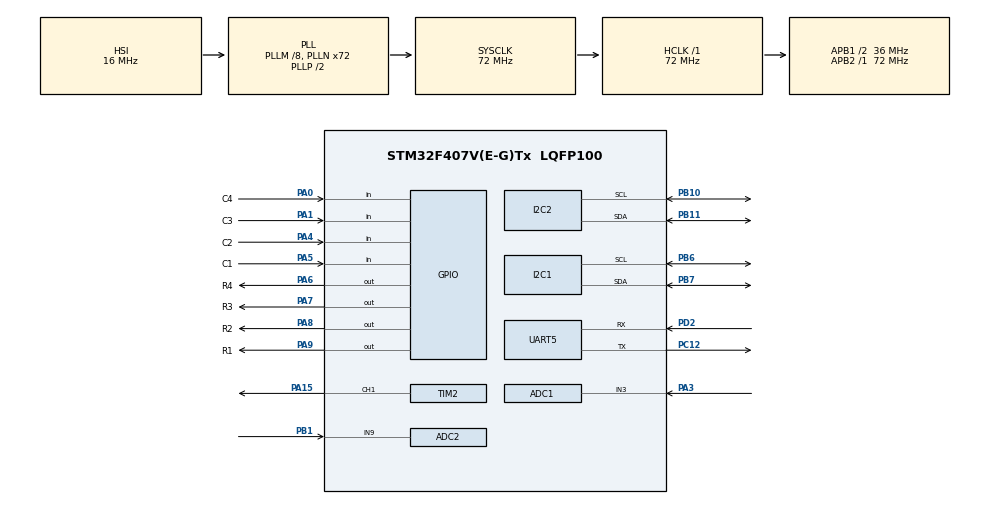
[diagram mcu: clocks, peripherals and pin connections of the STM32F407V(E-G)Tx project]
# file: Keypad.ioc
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ADC1.Channel-0\#ChannelRegularConversion=ADC_CHANNEL_3
ADC1.NbrOfConversionFlag=1
ADC1.Rank-0\#ChannelRegularConversion=1
ADC1.SamplingTime-0\#ChannelRegularConversion=ADC_SAMPLETIME_144CYCLES
ADC1.master=1
ADC2.Channel-0\#ChannelRegularConversion=ADC_CHANNEL_9
ADC2.NbrOfConversionFlag=1
ADC2.Rank-0\#ChannelRegularConversion=1
ADC2.SamplingTime-0\#ChannelRegularConversion=ADC_SAMPLETIME_144CYCLES
Mcu.Family=STM32F4
Mcu.Name=STM32F407V(E-G)Tx
Mcu.Package=LQFP100
NVIC.PriorityGroup=NVIC_PRIORITYGROUP_4
PA0-WKUP.GPIO_Label=C4
PA0-WKUP.GPIO_PuPd=GPIO_PULLUP
PA0-WKUP.Signal=GPIO_Input
PA1.GPIO_Label=C3
PA1.GPIO_PuPd=GPIO_PULLUP
PA1.Signal=GPIO_Input
PA15.Signal=S_TIM2_CH1_ETR
PA3.Signal=ADCx_IN3
PA4.GPIO_Label=C2
PA4.GPIO_PuPd=GPIO_PULLUP
PA4.Signal=GPIO_Input
PA5.GPIO_Label=C1
PA5.GPIO_PuPd=GPIO_PULLUP
PA5.Signal=GPIO_Input
PA6.GPIO_Label=R4
PA6.Signal=GPIO_Output
PA7.GPIO_Label=R3
PA7.Signal=GPIO_Output
PA8.GPIO_Label=R2
PA8.Signal=GPIO_Output
PA9.GPIO_Label=R1
PA9.Signal=GPIO_Output
PB1.Signal=ADCx_IN9
PB10.Mode=I2C
PB10.Signal=I2C2_SCL
PB11.Mode=I2C
PB11.Signal=I2C2_SDA
PB6.Mode=I2C
PB6.Signal=I2C1_SCL
PB7.Mode=I2C
PB7.Signal=I2C1_SDA
PC12.Mode=Asynchronous
PC12.Signal=UART5_TX
PD2.Mode=Asynchronous
PD2.Signal=UART5_RX
PH0-OSC_IN.Mode=HSE-External-Oscillator
PH0-OSC_IN.Signal=RCC_OSC_IN
PH1-OSC_OUT.Mode=HSE-External-Oscillator
PH1-OSC_OUT.Signal=RCC_OSC_OUT
ProjectManager.HeapSize=0x200
ProjectManager.StackSize=0x400
ProjectManager.TargetToolchain=STM32CubeIDE
RCC.48MHZClocksFreq_Value=36000000
RCC.AHBFreq_Value=72000000
RCC.APB1CLKDivider=RCC_HCLK_DIV2
RCC.APB1Freq_Value=36000000
RCC.APB1TimFreq_Value=72000000
RCC.APB2Freq_Value=72000000
RCC.APB2TimFreq_Value=72000000
RCC.CortexFreq_Value=72000000
RCC.HCLKFreq_Value=72000000
RCC.HSE_VALUE=25000000
RCC.HSI_VALUE=16000000
RCC.LSE_VALUE=32768
RCC.PLLM=8
RCC.PLLN=72
RCC.SYSCLKFreq_VALUE=72000000
RCC.SYSCLKSource=RCC_SYSCLKSOURCE_PLLCLK
RCC.VCOOutputFreq_Value=144000000
SH.ADCx_IN3.0=ADC1_IN3,IN3
SH.ADCx_IN9.0=ADC2_IN9,IN9
SH.S_TIM2_CH1_ETR.0=TIM2_CH1,PWM Generation1 CH1
TIM2.Channel-PWM\ Generation1\ CH1=TIM_CHANNEL_1
TIM2.Period=1000-1
TIM2.Prescaler=2000-1
UART5.VirtualMode=Asynchronous
VP_TIM2_VS_ClockSourceINT.Mode=Internal
board=custom

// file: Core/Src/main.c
/* USER CODE BEGIN Header */
/**
  ******************************************************************************
  * @file           : main.c
  * @brief          : Main program body
  ******************************************************************************
  * @attention
  *
  * Copyright (c) 2024 STMicroelectronics.
  * All rights reserved.
  *
  * This software is licensed under terms that can be found in the LICENSE file
  * in the root directory of this software component.
  * If no LICENSE file comes with this software, it is provided AS-IS.
  *
  ******************************************************************************
  */
/* USER CODE END Header */
#include "main.h"
#include "string.h"
#include "stdio.h"
#include "i2c-lcd.h"
#include "keypad_4x4.h"

/* USER CODE BEGIN Includes */
#define addr_pcf8574 (0x27 << 1)
#define LCD_BACKLIGHT 0x08
#define LCD_NOBACKLIGHT 0x00
#define Vc 5.0        // Voltage supply
#define RL 1.0        // Load resistance in kilo-ohms
#define Ro 2.3
/* USER CODE END Includes */
uint32_t lastSensorReadTime = 0;
uint32_t sensorReadInterval = 1000;

ADC_HandleTypeDef hadc1;
ADC_HandleTypeDef hadc2;

I2C_HandleTypeDef hi2c1;
I2C_HandleTypeDef hi2c2;

TIM_HandleTypeDef htim2;

UART_HandleTypeDef huart5;

/* USER CODE BEGIN PV */
char key;
/* USER CODE END PV */

void SystemClock_Config(void);
static void MX_GPIO_Init(void);
static void MX_I2C1_Init(void);
static void MX_TIM2_Init(void);
static void MX_ADC1_Init(void);
static void MX_I2C2_Init(void);
static void MX_UART5_Init(void);
static void MX_ADC2_Init(void);
/* USER CODE BEGIN PFP */
void LCD_I2C_Write_CMD(uint8_t data) {
	uint8_t buf[4] = {
	    (data & 0xF0) | 0x04 | LCD_BACKLIGHT,
	    (data & 0xF0) | 0x00 | LCD_BACKLIGHT,
	    (data << 4) & 0xF0 | 0x04 | LCD_BACKLIGHT,
	    (data << 4) & 0xF0 | 0x00 | LCD_BACKLIGHT
	  };
    HAL_I2C_Master_Transmit(&hi2c2, addr_pcf8574, buf, 4, 100);
}

void LCD_I2C_Write_DATA(uint8_t data) {
	uint8_t buf[4] = {
	    (data & 0xF0) | 0x05 | LCD_BACKLIGHT,
	    (data & 0xF0) | 0x01 | LCD_BACKLIGHT,
	    (data << 4) & 0xF0 | 0x05 | LCD_BACKLIGHT,
	    (data << 4) & 0xF0 | 0x01 | LCD_BACKLIGHT
	  };
    HAL_I2C_Master_Transmit(&hi2c2, addr_pcf8574, buf, 4, 100);
}

void LCD_I2C_Init(){
	LCD_I2C_Write_CMD(0x33);
	LCD_I2C_Write_CMD(0x32);
	LCD_I2C_Write_CMD(0x28);
	LCD_I2C_Write_CMD(0x0C);
	LCD_I2C_Write_CMD(0x06);
	LCD_I2C_Write_CMD(0x01);
	HAL_Delay(2);
}

void LCD_I2C_Clean(){
	LCD_I2C_Write_CMD(0x01);
	HAL_Delay(2);
}

void LCD_I2C_Location(uint8_t x, uint8_t y){
	if (x==0){
		LCD_I2C_Write_CMD(0x80+y);
	} else if (x==1){
		LCD_I2C_Write_CMD(0xC0+y);
	}
}

void LCD_I2C_Write_String (char* string){
	for (uint8_t i=0; i<strlen(string); i++){
		LCD_I2C_Write_DATA(string[i]);
	}
}

void LCD_I2C_Write_Number (int number){
	char buffer[8];
	sprintf(buffer, "%d", number);
	LCD_I2C_Write_String(buffer);
}
float calculate_ppm(float Rs) {
    float m = -0.45;
    float b = 1.27;

    float ratio = Rs / Ro;
    float ppm_log = (log10(ratio) - b) / m;
    float ppm = pow(10, ppm_log);

    return ppm;
}

float calculate_rs(uint32_t adc_value) {
    float Vout = (adc_value / 4096.0) * Vc;
    float Rs = ((Vc - Vout) / Vout) * RL;
    return Rs;
}

/* USER CODE END PFP */

/* USER CODE BEGIN 0 */
char password[6] = "56B89C";
	char inputPassword[6];

	int checkPassword(){
		int i;
		for (int i = 0; i < 6; i++){
			if(inputPassword[i]!=password[i]){
				return 0;
			}
		}
		return 1;
	}

/* USER CODE END 0 */

int main(void)
{

	float value;
	float t;

  /* MCU Configuration--------------------------------------------------------*/

  /* Reset of all peripherals, Initializes the Flash interface and the Systick. */
  HAL_Init();

  /* Configure the system clock */
  SystemClock_Config();

  /* Initialize all configured peripherals */
  MX_GPIO_Init();
  MX_I2C1_Init();
  MX_TIM2_Init();
  MX_ADC1_Init();
  MX_I2C2_Init();
  MX_UART5_Init();
  MX_ADC2_Init();
  /* USER CODE BEGIN 2 */
  lcd_init();
  HAL_TIM_PWM_Start(&htim2, TIM_CHANNEL_1);
  /* USER CODE END 2 */
  LCD_I2C_Init();
  lastSensorReadTime = HAL_GetTick();

  /* Infinite loop */
  /* USER CODE BEGIN WHILE */
  while (1)
          {
              lcd_put_cur(0, 0);
              lcd_send_string("Enter Password");

              char key = Keypad_Get_Char();
              if (key != 0) {
                  lcd_put_cur(1, 0);
                  lcd_send_string("Key: ");
                  lcd_put_cur(1, 5);
                  lcd_send_string(&key);

                  if (key == '#') {
                      if (checkPassword()) {
                      	HAL_UART_Transmit(&huart5, (uint8_t*)"CORRECT\n", 8, HAL_MAX_DELAY);
                          lcd_clear();
                          lcd_put_cur(0, 0);
                          lcd_send_string("Correct");
                          htim2.Instance->CCR1 = 15;
                          HAL_Delay(1500);
                          htim2.Instance->CCR1 = 70;
                          HAL_Delay(1500);
                          htim2.Instance->CCR1 = 130;
                          HAL_Delay(1500);
                      } else {
                      	HAL_UART_Transmit(&huart5, (uint8_t*)"INCORRECT\n", 10, HAL_MAX_DELAY);
                          lcd_clear();
                          lcd_put_cur(0, 0);
                          lcd_send_string("Incorrect");
                      }
                      HAL_Delay(1000);
                      lcd_clear();
                      memset(inputPassword, 0, 6);
                  } else {
                      int len = strlen(inputPassword);
                      if (len < 6) {
                          inputPassword[len] = key;
                      }
                  }
              }

              uint32_t currentTime = HAL_GetTick();
              if (currentTime - lastSensorReadTime >= sensorReadInterval) {
                  lastSensorReadTime = currentTime;

                  HAL_ADC_Start(&hadc1);
                  HAL_ADC_PollForConversion(&hadc1, 1000);
                  uint32_t gasValue = HAL_ADC_GetValue(&hadc1);
                  float Rs = calculate_rs(gasValue);
                  float ppm = calculate_ppm(Rs);

                  HAL_ADC_Start(&hadc2);
                  HAL_ADC_PollForConversion(&hadc2, 1000);
                  value = HAL_ADC_GetValue(&hadc2);
                  t = (value / 4096.0) * 3.0 * 100.0;
                  t = t - 7.0;
                  char gasString[50];
                  snprintf(gasString, sizeof(gasString), "%.2f", ppm);
                  LCD_I2C_Clean();
                  LCD_I2C_Location(0, 0);
                  LCD_I2C_Write_String("gas:");
                  LCD_I2C_Write_String(gasString);
                  LCD_I2C_Write_String("ppm");

                  char tString[50];
                  snprintf(tString, sizeof(tString), "%.2f", t);
                  LCD_I2C_Location(1, 0);
                  LCD_I2C_Write_String("nhiet do:");
                  LCD_I2C_Write_String(tString);
                  LCD_I2C_Write_String("oC");

                  if (ppm > 100) {
                      LCD_I2C_Location(0, 12);
                      LCD_I2C_Write_String(" !!!");
                  }

                  char uartBuffer[50];
                  snprintf(uartBuffer, sizeof(uartBuffer), "%.2f;%.2f\n", ppm, t);
                  HAL_UART_Transmit(&huart5, (uint8_t*)uartBuffer, strlen(uartBuffer), HAL_MAX_DELAY);
              }

              HAL_Delay(10);
          }

  /* USER CODE END 3 */
}

void SystemClock_Config(void)
{
  RCC_OscInitTypeDef RCC_OscInitStruct = {0};
  RCC_ClkInitTypeDef RCC_ClkInitStruct = {0};

  /** Configure the main internal regulator output voltage
  */
  __HAL_RCC_PWR_CLK_ENABLE();
  __HAL_PWR_VOLTAGESCALING_CONFIG(PWR_REGULATOR_VOLTAGE_SCALE1);

  /** Initializes the RCC Oscillators according to the specified parameters
  * in the RCC_OscInitTypeDef structure.
  */
  RCC_OscInitStruct.OscillatorType = RCC_OSCILLATORTYPE_HSI;
  RCC_OscInitStruct.HSIState = RCC_HSI_ON;
  RCC_OscInitStruct.HSICalibrationValue = RCC_HSICALIBRATION_DEFAULT;
  RCC_OscInitStruct.PLL.PLLState = RCC_PLL_ON;
  RCC_OscInitStruct.PLL.PLLSource = RCC_PLLSOURCE_HSI;
  RCC_OscInitStruct.PLL.PLLM = 8;
  RCC_OscInitStruct.PLL.PLLN = 72;
  RCC_OscInitStruct.PLL.PLLP = RCC_PLLP_DIV2;
  RCC_OscInitStruct.PLL.PLLQ = 4;
  if (HAL_RCC_OscConfig(&RCC_OscInitStruct) != HAL_OK)
  {
    Error_Handler();
  }

  /** Initializes the CPU, AHB and APB buses clocks
  */
  RCC_ClkInitStruct.ClockType = RCC_CLOCKTYPE_HCLK|RCC_CLOCKTYPE_SYSCLK
                              |RCC_CLOCKTYPE_PCLK1|RCC_CLOCKTYPE_PCLK2;
  RCC_ClkInitStruct.SYSCLKSource = RCC_SYSCLKSOURCE_PLLCLK;
  RCC_ClkInitStruct.AHBCLKDivider = RCC_SYSCLK_DIV1;
  RCC_ClkInitStruct.APB1CLKDivider = RCC_HCLK_DIV2;
  RCC_ClkInitStruct.APB2CLKDivider = RCC_HCLK_DIV1;

  if (HAL_RCC_ClockConfig(&RCC_ClkInitStruct, FLASH_LATENCY_2) != HAL_OK)
  {
    Error_Handler();
  }
}

static void MX_ADC1_Init(void)
{

  ADC_ChannelConfTypeDef sConfig = {0};

  /** Configure the global features of the ADC (Clock, Resolution, Data Alignment and number of conversion)
  */
  hadc1.Instance = ADC1;
  hadc1.Init.ClockPrescaler = ADC_CLOCK_SYNC_PCLK_DIV2;
  hadc1.Init.Resolution = ADC_RESOLUTION_12B;
  hadc1.Init.ScanConvMode = DISABLE;
  hadc1.Init.ContinuousConvMode = DISABLE;
  hadc1.Init.DiscontinuousConvMode = DISABLE;
  hadc1.Init.ExternalTrigConvEdge = ADC_EXTERNALTRIGCONVEDGE_NONE;
  hadc1.Init.ExternalTrigConv = ADC_SOFTWARE_START;
  hadc1.Init.DataAlign = ADC_DATAALIGN_RIGHT;
  hadc1.Init.NbrOfConversion = 1;
  hadc1.Init.DMAContinuousRequests = DISABLE;
  hadc1.Init.EOCSelection = ADC_EOC_SINGLE_CONV;
  if (HAL_ADC_Init(&hadc1) != HAL_OK)
  {
    Error_Handler();
  }

  /** Configure for the selected ADC regular channel its corresponding rank in the sequencer and its sample time.
  */
  sConfig.Channel = ADC_CHANNEL_3;
  sConfig.Rank = 1;
  sConfig.SamplingTime = ADC_SAMPLETIME_144CYCLES;
  if (HAL_ADC_ConfigChannel(&hadc1, &sConfig) != HAL_OK)
  {
    Error_Handler();
  }

}

static void MX_ADC2_Init(void)
{

  ADC_ChannelConfTypeDef sConfig = {0};

  /** Configure the global features of the ADC (Clock, Resolution, Data Alignment and number of conversion)
  */
  hadc2.Instance = ADC2;
  hadc2.Init.ClockPrescaler = ADC_CLOCK_SYNC_PCLK_DIV2;
  hadc2.Init.Resolution = ADC_RESOLUTION_12B;
  hadc2.Init.ScanConvMode = DISABLE;
  hadc2.Init.ContinuousConvMode = DISABLE;
  hadc2.Init.DiscontinuousConvMode = DISABLE;
  hadc2.Init.ExternalTrigConvEdge = ADC_EXTERNALTRIGCONVEDGE_NONE;
  hadc2.Init.ExternalTrigConv = ADC_SOFTWARE_START;
  hadc2.Init.DataAlign = ADC_DATAALIGN_RIGHT;
  hadc2.Init.NbrOfConversion = 1;
  hadc2.Init.DMAContinuousRequests = DISABLE;
  hadc2.Init.EOCSelection = ADC_EOC_SINGLE_CONV;
  if (HAL_ADC_Init(&hadc2) != HAL_OK)
  {
    Error_Handler();
  }

  /** Configure for the selected ADC regular channel its corresponding rank in the sequencer and its sample time.
  */
  sConfig.Channel = ADC_CHANNEL_9;
  sConfig.Rank = 1;
  sConfig.SamplingTime = ADC_SAMPLETIME_144CYCLES;
  if (HAL_ADC_ConfigChannel(&hadc2, &sConfig) != HAL_OK)
  {
    Error_Handler();
  }

}

static void MX_I2C1_Init(void)
{

  hi2c1.Instance = I2C1;
  hi2c1.Init.ClockSpeed = 100000;
  hi2c1.Init.DutyCycle = I2C_DUTYCYCLE_2;
  hi2c1.Init.OwnAddress1 = 0;
  hi2c1.Init.AddressingMode = I2C_ADDRESSINGMODE_7BIT;
  hi2c1.Init.DualAddressMode = I2C_DUALADDRESS_DISABLE;
  hi2c1.Init.OwnAddress2 = 0;
  hi2c1.Init.GeneralCallMode = I2C_GENERALCALL_DISABLE;
  hi2c1.Init.NoStretchMode = I2C_NOSTRETCH_DISABLE;
  if (HAL_I2C_Init(&hi2c1) != HAL_OK)
  {
    Error_Handler();
  }

}

static void MX_I2C2_Init(void)
{

  hi2c2.Instance = I2C2;
  hi2c2.Init.ClockSpeed = 100000;
  hi2c2.Init.DutyCycle = I2C_DUTYCYCLE_2;
  hi2c2.Init.OwnAddress1 = 0;
  hi2c2.Init.AddressingMode = I2C_ADDRESSINGMODE_7BIT;
  hi2c2.Init.DualAddressMode = I2C_DUALADDRESS_DISABLE;
  hi2c2.Init.OwnAddress2 = 0;
  hi2c2.Init.GeneralCallMode = I2C_GENERALCALL_DISABLE;
  hi2c2.Init.NoStretchMode = I2C_NOSTRETCH_DISABLE;
  if (HAL_I2C_Init(&hi2c2) != HAL_OK)
  {
    Error_Handler();
  }

}

static void MX_TIM2_Init(void)
{

  TIM_ClockConfigTypeDef sClockSourceConfig = {0};
  TIM_MasterConfigTypeDef sMasterConfig = {0};
  TIM_OC_InitTypeDef sConfigOC = {0};

  htim2.Instance = TIM2;
  htim2.Init.Prescaler = 2000-1;
  htim2.Init.CounterMode = TIM_COUNTERMODE_UP;
  htim2.Init.Period = 1000-1;
  htim2.Init.ClockDivision = TIM_CLOCKDIVISION_DIV1;
  htim2.Init.AutoReloadPreload = TIM_AUTORELOAD_PRELOAD_DISABLE;
  if (HAL_TIM_Base_Init(&htim2) != HAL_OK)
  {
    Error_Handler();
  }
  sClockSourceConfig.ClockSource = TIM_CLOCKSOURCE_INTERNAL;
  if (HAL_TIM_ConfigClockSource(&htim2, &sClockSourceConfig) != HAL_OK)
  {
    Error_Handler();
  }
  if (HAL_TIM_PWM_Init(&htim2) != HAL_OK)
  {
    Error_Handler();
  }
  sMasterConfig.MasterOutputTrigger = TIM_TRGO_RESET;
  sMasterConfig.MasterSlaveMode = TIM_MASTERSLAVEMODE_DISABLE;
  if (HAL_TIMEx_MasterConfigSynchronization(&htim2, &sMasterConfig) != HAL_OK)
  {
    Error_Handler();
  }
  sConfigOC.OCMode = TIM_OCMODE_PWM1;
  sConfigOC.Pulse = 0;
  sConfigOC.OCPolarity = TIM_OCPOLARITY_HIGH;
  sConfigOC.OCFastMode = TIM_OCFAST_DISABLE;
  if (HAL_TIM_PWM_ConfigChannel(&htim2, &sConfigOC, TIM_CHANNEL_1) != HAL_OK)
  {
    Error_Handler();
  }
  HAL_TIM_MspPostInit(&htim2);

}

static void MX_UART5_Init(void)
{

  huart5.Instance = UART5;
  huart5.Init.BaudRate = 115200;
  huart5.Init.WordLength = UART_WORDLENGTH_8B;
  huart5.Init.StopBits = UART_STOPBITS_1;
  huart5.Init.Parity = UART_PARITY_NONE;
  huart5.Init.Mode = UART_MODE_TX_RX;
  huart5.Init.HwFlowCtl = UART_HWCONTROL_NONE;
  huart5.Init.OverSampling = UART_OVERSAMPLING_16;
  if (HAL_UART_Init(&huart5) != HAL_OK)
  {
    Error_Handler();
  }

}

static void MX_GPIO_Init(void)
{
  GPIO_InitTypeDef GPIO_InitStruct = {0};

  /* GPIO Ports Clock Enable */
  __HAL_RCC_GPIOH_CLK_ENABLE();
  __HAL_RCC_GPIOA_CLK_ENABLE();
  __HAL_RCC_GPIOB_CLK_ENABLE();
  __HAL_RCC_GPIOC_CLK_ENABLE();
  __HAL_RCC_GPIOD_CLK_ENABLE();

  /*Configure GPIO pin Output Level */
  HAL_GPIO_WritePin(GPIOA, R4_Pin|R3_Pin|R2_Pin|R1_Pin, GPIO_PIN_RESET);

  /*Configure GPIO pins : C4_Pin C3_Pin C2_Pin C1_Pin */
  GPIO_InitStruct.Pin = C4_Pin|C3_Pin|C2_Pin|C1_Pin;
  GPIO_InitStruct.Mode = GPIO_MODE_INPUT;
  GPIO_InitStruct.Pull = GPIO_PULLUP;
  HAL_GPIO_Init(GPIOA, &GPIO_InitStruct);

  /*Configure GPIO pins : R4_Pin R3_Pin R2_Pin R1_Pin */
  GPIO_InitStruct.Pin = R4_Pin|R3_Pin|R2_Pin|R1_Pin;
  GPIO_InitStruct.Mode = GPIO_MODE_OUTPUT_PP;
  GPIO_InitStruct.Pull = GPIO_NOPULL;
  GPIO_InitStruct.Speed = GPIO_SPEED_FREQ_LOW;
  HAL_GPIO_Init(GPIOA, &GPIO_InitStruct);

}

void Error_Handler(void)
{
  __disable_irq();
  while (1)
  {
  }
}
